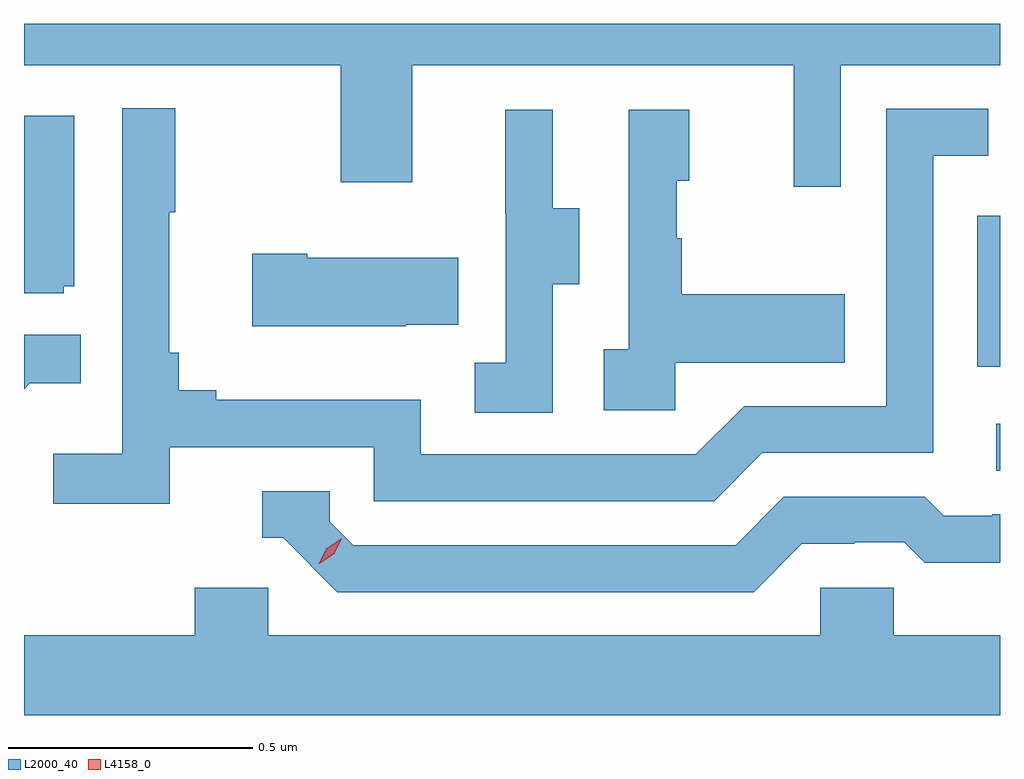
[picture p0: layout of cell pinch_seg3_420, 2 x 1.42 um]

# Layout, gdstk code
import gdstk
lib = gdstk.Library(unit=1e-6, precision=1e-09)
def R(c, l, rs):  # rectangles x0, y0, x1, y1
    for r in rs: c.add(gdstk.rectangle(r[:2], r[2:], *l))
def P(c, l, *ps):  # polygons
    for p in ps: c.add(gdstk.Polygon(p, *l))
L2000_40 = (2000, 40)
L4158_0 = (4158, 0)

pinch_seg3_420 = lib.new_cell('pinch_seg3_420')
R(pinch_seg3_420, L2000_40, [(952.605,704.082,952.613,704.178), (952.566,704.295,952.613,704.604)])
P(pinch_seg3_420, L2000_40, [(952.287,704.912),(952.613,704.912),(952.613,704.998),(950.613,704.998),(950.613,704.912),(951.262,704.912),(951.262,704.673),(951.409,704.673),(951.409,704.912),(952.19,704.912),(952.19,704.664),(952.287,704.664)],
  [(950.912,704.13),(951.33,704.13),(951.33,704.019),(952.027,704.019),(952.126,704.118),(952.476,704.118),(952.476,704.727),(952.589,704.727),(952.589,704.823),(952.38,704.823),(952.38,704.214),(952.089,704.214),(951.99,704.115),(951.426,704.115),(951.426,704.227),(951.007,704.227),(951.007,704.246),(950.93,704.246),(950.93,704.323),(950.911,704.323),(950.911,704.611),(950.923,704.611),(950.923,704.824),(950.814,704.824),(950.814,704.116),(950.673,704.116),(950.673,704.014),(950.912,704.014)],
  [(951.696,704.464),(951.751,704.464),(951.751,704.619),(951.697,704.619),(951.697,704.821),(951.599,704.821),(951.599,704.607),(951.6,704.607),(951.6,704.303),(951.537,704.303),(951.537,704.2),(951.696,704.2)],
  [(951.948,704.303),(952.295,704.303),(952.295,704.443),(951.961,704.443),(951.961,704.558),(951.951,704.558),(951.951,704.676),(951.976,704.676),(951.976,704.821),(951.852,704.821),(951.852,704.33),(951.801,704.33),(951.801,704.205),(951.948,704.205)],
  [(950.694,704.46),(950.716,704.46),(950.716,704.809),(950.613,704.809),(950.613,704.445),(950.694,704.445)],
  [(951.395,704.381),(951.503,704.381),(951.503,704.518),(951.193,704.518),(951.193,704.526),(951.081,704.526),(951.081,704.378),(951.395,704.378)],
  [(950.625,704.261),(950.729,704.261),(950.729,704.36),(950.613,704.36),(950.613,704.249)],
  [(952.207,703.932),(952.314,703.932),(952.314,703.935),(952.417,703.935),(952.459,703.893),(952.613,703.893),(952.613,703.992),(952.597,703.992),(952.597,703.989),(952.498,703.989),(952.459,704.028),(952.17,704.028),(952.071,703.929),(951.288,703.929),(951.24,703.977),(951.24,704.04),(951.101,704.04),(951.101,703.944),(951.144,703.944),(951.255,703.833),(952.108,703.833)],
  [(952.613,703.744),(952.395,703.744),(952.395,703.842),(952.245,703.842),(952.245,703.744),(951.114,703.744),(951.114,703.842),(950.963,703.842),(950.963,703.744),(950.613,703.744),(950.613,703.58),(952.613,703.58)])
P(pinch_seg3_420, L4158_0, [(951.217,703.891),(951.217,703.891),(951.233,703.923),(951.264,703.943),(951.264,703.943),(951.264,703.942),(951.248,703.91),(951.218,703.891)])

lib.write_gds('pinch_seg3_420.gds')
